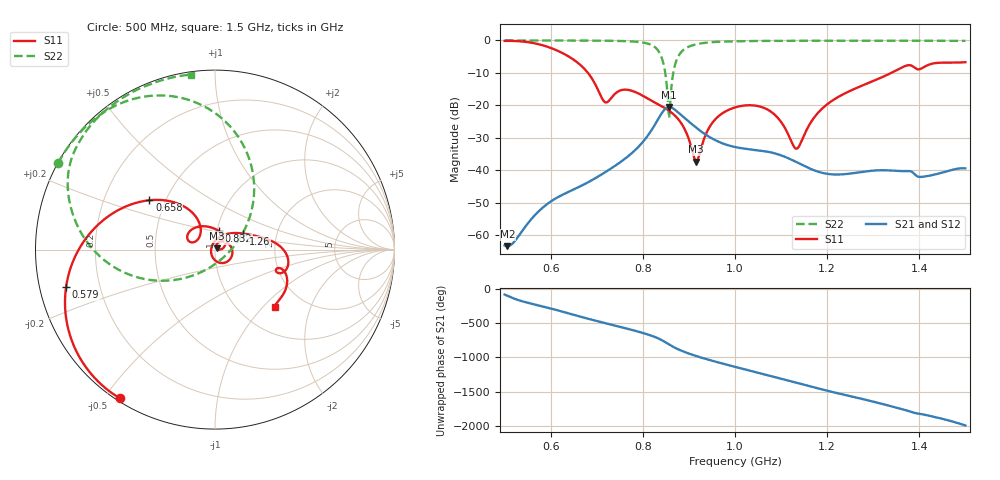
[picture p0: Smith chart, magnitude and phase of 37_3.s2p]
! TOUCHSTONE file generated by CST MICROWAVE STUDIO
! Date and time: Fri Oct 30 08:06:41 2020
! Project name: Scenario_1_Circular_Tissue_out_of_Line.cst
! Parameters = {dy1=278.276; L_HA=400; MT=2.54; Rad_Dielectric=30; Rad_Lower=7.3; Rad_Upper=30; a_HA=580; a_WG=246; b_HA=500; b_WG=121; c_HA=0; c_WG=187; d_feed=85; dx1=520; h_feed=15; h_lower=18; h_upper=40}
! Header version: 2018
! Port assignment regex: !\s*Touchstone port\s*([0-9]+)\s*=\s*(CST MWS port|CST DS port)\s*([0-9]+|Zmin|Zmax)\s*\(\"(.*)\"\)(\s*mode\s*([0-9]+))?.*
! Touchstone port assignment:
! Touchstone port 1 = CST MWS port 1 ("")
! Touchstone port 2 = CST MWS port 2 ("")
# GHz S DB R 50
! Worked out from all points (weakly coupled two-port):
!   1001 points, 500 MHz to 1.5 GHz, reference 50 ohm
!   highest |S21| = -20.52 dB at 857 MHz (marker M1); lowest = -63.4 dB at 506 MHz (marker M2)
!   lowest |S11| = -37.4 dB at 916 MHz (marker M3), VSWR 1.03, Z = 51.1 + j0.82 ohm
!   |S11| at or under -10 dB: 680.8 MHz to 1.339 GHz (658.4 MHz wide, 65.2 % of centre)
!   |S22| runs from -23.9 to 0.0 dB; largest |S21 - S12| = 1.8e-05
!   S11 on the Smith chart (normalised r, x): 500 MHz: 0.01, -0.55; 579 MHz: 0.08, -0.12; 658 MHz: 0.41, +0.28; 832 MHz: 1.03, +0.21; 1.26 GHz: 1.34, +0.25; 1.5 GHz: 1.44, -1.17
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0.5  -0.15 -122.5  -63.21 -84.8  -63.21 -84.8  -0.01 151.1
0.506  -0.14 -125.3  -63.43 -101.8  -63.43 -101.8  -0.01 150.7
0.579  -1.36 -165.9  -52.01 108.8  -52.01 108.8  -0.02 145.7
0.658  -6.80 143.0  -45.40 -35.5  -45.40 -35.5  -0.04 139.2
0.667  -7.89 136.8  -44.77 -52.2  -44.77 -52.2  -0.04 138.4
0.718  -19.05 141.4  -40.66 -140.8  -40.66 -140.8  -0.09 132.6
0.754  -15.29 153.9  -37.24 158.6  -37.24 158.6  -0.18 126.7
0.79  -16.32 122.2  -32.86 94.3  -32.86 94.3  -0.46 116.9
0.832  -19.60 77.1  -24.56 0.1  -24.57 0.1  -2.90 85.4
0.834  -19.75 74.8  -24.07 -6.0  -24.08 -6.0  -3.29 82.4
0.845  -20.61 61.9  -21.64 -44.3  -21.64 -44.3  -7.31 59.8
0.857  -21.68 47.8  -20.52 -93.4  -20.52 -93.4  -23.87 -48.9
0.876  -24.14 24.9  -22.13 -161.3  -22.13 -161.3  -5.15 -168.6
0.916  -37.36 36.3  -26.92 98.2  -26.92 98.2  -1.19 159.5
0.951  -25.37 56.2  -30.29 28.8  -30.29 28.8  -0.52 148.7
1  -20.66 5.5  -32.86 -59.2  -32.86 -59.2  -0.28 140.2
1.076  -21.77 -66.1  -34.46 170.0  -34.46 170.0  -0.14 131.8
1.133  -33.38 172.9  -37.49 69.4  -37.48 69.4  -0.11 126.9
1.167  -24.73 81.4  -39.77 9.8  -39.78 9.9  -0.10 124.2
1.26  -14.90 29.8  -40.85 -142.2  -40.85 -142.2  -0.08 117.1
1.334  -10.36 10.5  -40.07 94.9  -40.07 94.9  -0.09 111.4
1.5  -6.71 -43.9  -39.45 166.3  -39.45 166.3  -0.13 97.9
